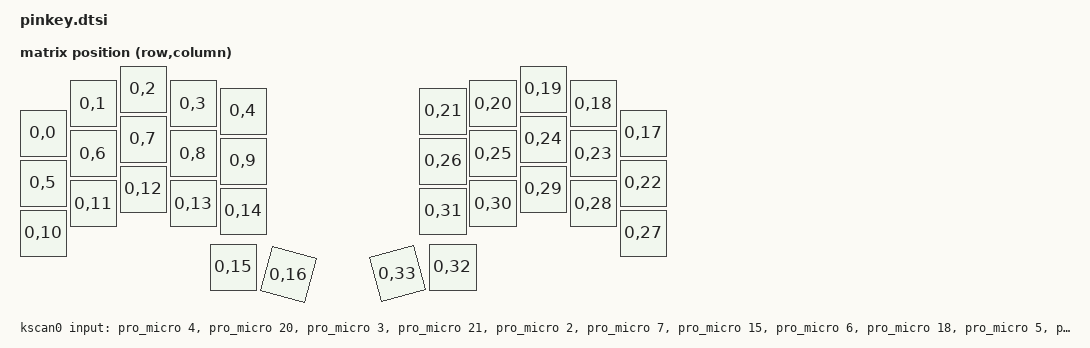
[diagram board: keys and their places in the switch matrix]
#include <dt-bindings/zmk/matrix_transform.h>
#include <physical_layouts.dtsi>

/ {
    kscan0: kscan0 {
        compatible = "zmk,kscan-gpio-direct";
        wakeup-source;

        input-gpios
            = <&pro_micro 4 (GPIO_ACTIVE_LOW | GPIO_PULL_UP)> // P0.22 for nice!nano v2
            , <&pro_micro 20 (GPIO_ACTIVE_LOW | GPIO_PULL_UP)> // P0.29
            , <&pro_micro 3 (GPIO_ACTIVE_LOW | GPIO_PULL_UP)> // P0.20
            , <&pro_micro 21 (GPIO_ACTIVE_LOW | GPIO_PULL_UP)> // P0.31
            , <&pro_micro 2 (GPIO_ACTIVE_LOW | GPIO_PULL_UP)> // P0.17

            , <&pro_micro 7 (GPIO_ACTIVE_LOW | GPIO_PULL_UP)> // P0.11
            , <&pro_micro 15 (GPIO_ACTIVE_LOW | GPIO_PULL_UP)> // P1.13
            , <&pro_micro 6 (GPIO_ACTIVE_LOW | GPIO_PULL_UP)> // P1.00
            , <&pro_micro 18 (GPIO_ACTIVE_LOW | GPIO_PULL_UP)> // P1.15
            , <&pro_micro 5 (GPIO_ACTIVE_LOW | GPIO_PULL_UP)> // P0.24
            
            , <&pro_micro 10 (GPIO_ACTIVE_LOW | GPIO_PULL_UP)> // P0.09
            , <&pro_micro 9 (GPIO_ACTIVE_LOW | GPIO_PULL_UP)> // P1.06
            , <&pro_micro 16 (GPIO_ACTIVE_LOW | GPIO_PULL_UP)> // P0.10
            , <&pro_micro 8 (GPIO_ACTIVE_LOW | GPIO_PULL_UP)> // P1.04
            , <&pro_micro 14 (GPIO_ACTIVE_LOW | GPIO_PULL_UP)> // P1.11

            , <&pro_micro 0 (GPIO_ACTIVE_LOW | GPIO_PULL_UP)> // P0.08
            , <&pro_micro 1 (GPIO_ACTIVE_LOW | GPIO_PULL_UP)> // P0.06
            ;
    };

    default_transform: keymap_transform0 {
        compatible = "zmk,matrix-transform";
        columns = <10>;
        rows = <4>;
        map = <
            RC(0,0)  RC(0,1)  RC(0,2)  RC(0,3)  RC(0,4)    RC(0,21) RC(0,20) RC(0,19) RC(0,18) RC(0,17)
            RC(0,5)  RC(0,6)  RC(0,7)  RC(0,8)  RC(0,9)    RC(0,26) RC(0,25) RC(0,24) RC(0,23) RC(0,22)
            RC(0,10) RC(0,11) RC(0,12) RC(0,13) RC(0,14)   RC(0,31) RC(0,30) RC(0,29) RC(0,28) RC(0,27)
                                       RC(0,15) RC(0,16)   RC(0,33) RC(0,32)
        >;
    };

    physical_layout0: physical_layout_0 {
        compatible = "zmk,physical-layout";
        display-name = "Default Layout";

        kscan = <&kscan0>;
        transform = <&default_transform>;

        keys  //                     w   h    x    y     rot    rx    ry
            = <&key_physical_attrs 100 100    0   88       0     0     0>
            , <&key_physical_attrs 100 100  100   29       0     0     0>
            , <&key_physical_attrs 100 100  200    0       0     0     0>
            , <&key_physical_attrs 100 100  300   29       0     0     0>
            , <&key_physical_attrs 100 100  400   44       0     0     0>
            , <&key_physical_attrs 100 100  800   44       0     0     0>
            , <&key_physical_attrs 100 100  900   29       0     0     0>
            , <&key_physical_attrs 100 100 1000    0       0     0     0>
            , <&key_physical_attrs 100 100 1100   29       0     0     0>
            , <&key_physical_attrs 100 100 1200   88       0     0     0>
            , <&key_physical_attrs 100 100    0  188       0     0     0>
            , <&key_physical_attrs 100 100  100  129       0     0     0>
            , <&key_physical_attrs 100 100  200  100       0     0     0>
            , <&key_physical_attrs 100 100  300  129       0     0     0>
            , <&key_physical_attrs 100 100  400  144       0     0     0>
            , <&key_physical_attrs 100 100  800  144       0     0     0>
            , <&key_physical_attrs 100 100  900  129       0     0     0>
            , <&key_physical_attrs 100 100 1000  100       0     0     0>
            , <&key_physical_attrs 100 100 1100  129       0     0     0>
            , <&key_physical_attrs 100 100 1200  188       0     0     0>
            , <&key_physical_attrs 100 100    0  288       0     0     0>
            , <&key_physical_attrs 100 100  100  229       0     0     0>
            , <&key_physical_attrs 100 100  200  200       0     0     0>
            , <&key_physical_attrs 100 100  300  229       0     0     0>
            , <&key_physical_attrs 100 100  400  244       0     0     0>
            , <&key_physical_attrs 100 100  800  244       0     0     0>
            , <&key_physical_attrs 100 100  900  229       0     0     0>
            , <&key_physical_attrs 100 100 1000  200       0     0     0>
            , <&key_physical_attrs 100 100 1100  229       0     0     0>
            , <&key_physical_attrs 100 100 1200  288       0     0     0>
            , <&key_physical_attrs 100 100  380  356       0     0     0>
            , <&key_physical_attrs 100 100  491  371    1500   541   421>
            , <&key_physical_attrs 100 100  709  371 (-1500)   750   421>
            , <&key_physical_attrs 100 100  820  356       0     0     0>
            ;
    };
};
